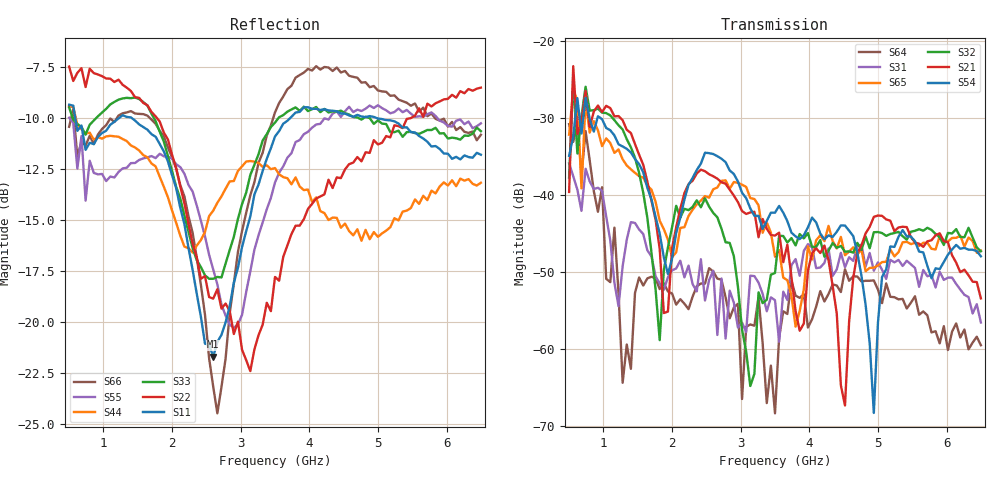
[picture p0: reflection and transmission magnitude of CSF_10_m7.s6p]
!Keysight Technologies,M9804A,MY58100912,A.14.10.03
!Date: Thursday, April 27, 2023 10:28:33
!Correction: S11(C  6-Port  )
!S12(C  6-Port  )
!S13(C  6-Port  )
!S14(C  6-Port  )
!S15(C  6-Port  )
!S16(C  6-Port  )
!S21(C  6-Port  )
!S22(C  6-Port  )
!S23(C  6-Port  )
!S24(C  6-Port  )
!S25(C  6-Port  )
!S26(C  6-Port  )
!S31(C  6-Port  )
!S32(C  6-Port  )
!S33(C  6-Port  )
!S34(C  6-Port  )
!S35(C  6-Port  )
!S36(C  6-Port  )
!S41(C  6-Port  )
!S42(C  6-Port  )
!S43(C  6-Port  )
!S44(C  6-Port  )
!S45(C  6-Port  )
!S46(C  6-Port  )
!S51(C  6-Port  )
!S52(C  6-Port  )
!S53(C  6-Port  )
!S54(C  6-Port  )
!S55(C  6-Port  )
!S56(C  6-Port  )
!S61(C  6-Port  )
!S62(C  6-Port  )
!S63(C  6-Port  )
!S64(C  6-Port  )
!S65(C  6-Port  )
!S66(C  6-Port  )
!S6P File: Measurement: :
# Hz S  RI  R 50
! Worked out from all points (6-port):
!   101 points, 500 MHz to 6.5 GHz, reference 50 ohm
!   strongest paths, dB at 500 MHz, 2 GHz, 3.5 GHz, 5 GHz, 6.5 GHz:
!     S54: -34.9, -48.3, -42.3, -56.6, -48.0
!     S21: -39.6, -46.9, -45.3, -42.7, -53.4
!     S32: -37.7, -44.2, -50.1, -44.8, -47.3
!     S65: -32.2, -48.1, -48.0, -49.1, -47.2
!     S31: -35.9, -49.8, -53.7, -48.7, -56.6
!     S64: -30.8, -52.8, -68.4, -52.3, -59.5
!   lowest |S11| = -21.7 dB at 2.6 GHz (marker M1), VSWR 1.18, Z = 42.7 + j2.08 ohm
!   |S11| at or under -10 dB: 588.6 MHz to 1.235 GHz (646 MHz wide, 70.9 % of centre); 1.405 GHz to 3.727 GHz (2.322 GHz wide, 90.5 % of centre); 4.968 GHz to end of sweep
